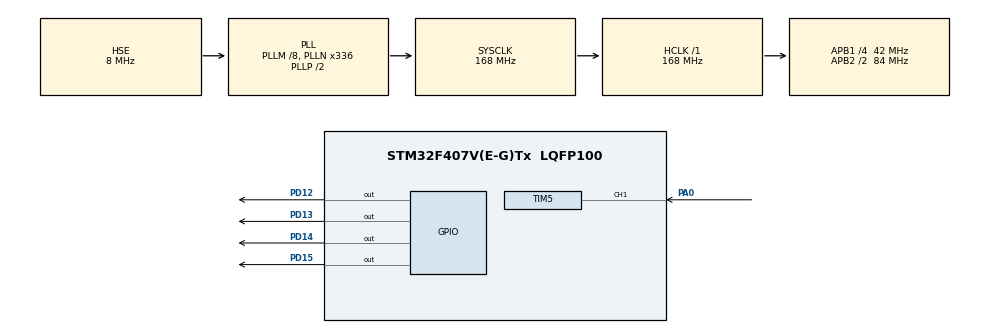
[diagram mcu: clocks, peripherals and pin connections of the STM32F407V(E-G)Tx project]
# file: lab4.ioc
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Mcu.Family=STM32F4
Mcu.Name=STM32F407V(E-G)Tx
Mcu.Package=LQFP100
NVIC.PriorityGroup=NVIC_PRIORITYGROUP_0
NVIC.TIM3_IRQn=true\:0\:0\:false\:true\:true\:1\:true\:true\:true
NVIC.TIM5_IRQn=true\:0\:0\:false\:true\:true\:2\:true\:true\:true
PA0-WKUP.Signal=S_TIM5_CH1
PA13.Mode=Serial_Wire
PA13.Signal=SYS_JTMS-SWDIO
PA14.Mode=Serial_Wire
PA14.Signal=SYS_JTCK-SWCLK
PD12.Signal=GPIO_Output
PD13.Signal=GPIO_Output
PD14.Signal=GPIO_Output
PD15.Signal=GPIO_Output
PH0-OSC_IN.Mode=HSE-External-Oscillator
PH0-OSC_IN.Signal=RCC_OSC_IN
PH1-OSC_OUT.Mode=HSE-External-Oscillator
PH1-OSC_OUT.Signal=RCC_OSC_OUT
ProjectManager.HeapSize=0x200
ProjectManager.StackSize=0x400
ProjectManager.TargetToolchain=STM32CubeIDE
RCC.48MHZClocksFreq_Value=48000000
RCC.AHBFreq_Value=168000000
RCC.APB1CLKDivider=RCC_HCLK_DIV4
RCC.APB1Freq_Value=42000000
RCC.APB1TimFreq_Value=84000000
RCC.APB2CLKDivider=RCC_HCLK_DIV2
RCC.APB2Freq_Value=84000000
RCC.APB2TimFreq_Value=168000000
RCC.CortexFreq_Value=168000000
RCC.HCLKFreq_Value=168000000
RCC.HSE_VALUE=8000000
RCC.HSI_VALUE=16000000
RCC.PLLM=8
RCC.PLLN=336
RCC.PLLQ=7
RCC.PLLSourceVirtual=RCC_PLLSOURCE_HSE
RCC.SYSCLKFreq_VALUE=168000000
RCC.SYSCLKSource=RCC_SYSCLKSOURCE_PLLCLK
RCC.VCOOutputFreq_Value=336000000
SH.S_TIM5_CH1.0=TIM5_CH1,Input_Capture1_from_TI1
TIM3.Period=9999
TIM3.Prescaler=7199
TIM5.Channel-Input_Capture1_from_TI1=TIM_CHANNEL_1
TIM5.ICFilter_CH1=15
TIM5.ICPolarity_CH1=TIM_INPUTCHANNELPOLARITY_FALLING
TIM5.Period=0xFFFFFFFF
TIM5.Prescaler=65535
VP_TIM3_VS_ClockSourceINT.Mode=Internal
VP_TIM5_VS_ClockSourceINT.Mode=Internal
board=STM32F407G-DISC1

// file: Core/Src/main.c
/* USER CODE BEGIN Header */
/**
  ******************************************************************************
  * @file           : main.c
  * @brief          : Main program body
  ******************************************************************************
  * @attention
  *
  * Copyright (c) 2025 STMicroelectronics.
  * All rights reserved.
  *
  * This software is licensed under terms that can be found in the LICENSE file
  * in the root directory of this software component.
  * If no LICENSE file comes with this software, it is provided AS-IS.
  *
  ******************************************************************************
  */
/* USER CODE END Header */
#include "main.h"

TIM_HandleTypeDef htim3;
TIM_HandleTypeDef htim5;

/* USER CODE BEGIN PV */
uint32_t first_capture = 0;
uint32_t second_capture = 0;
uint8_t capture_flag = 0;
uint32_t elapsed_time = 0;
uint32_t time_calc = 0;
/* USER CODE END PV */

void SystemClock_Config(void);
static void MX_GPIO_Init(void);
static void MX_TIM3_Init(void);
static void MX_TIM5_Init(void);
static void MX_NVIC_Init(void);
/* USER CODE BEGIN PFP */
void led_display(uint32_t time_difference);
/* USER CODE END PFP */

int main(void)
{

  /* MCU Configuration--------------------------------------------------------*/

  /* Reset of all peripherals, Initializes the Flash interface and the Systick. */
  HAL_Init();

  /* Configure the system clock */
  SystemClock_Config();

  /* Initialize all configured peripherals */
  MX_GPIO_Init();
  MX_TIM3_Init();
  MX_TIM5_Init();

  /* Initialize interrupts */
  MX_NVIC_Init();
  /* USER CODE BEGIN 2 */
  //HAL_TIM_PWM_Start(&htim4, TIM_CHANNEL_1);   <----- Part 1
    //HAL_TIM_PWM_Start(&htim4, TIM_CHANNEL_4); <----- Part 1
  HAL_TIM_Base_Start_IT(&htim3);
  HAL_TIM_IC_Start_IT(&htim5, TIM_CHANNEL_1);
  /* USER CODE END 2 */

  /* Infinite loop */
  while (1)
  {

  }
}

void SystemClock_Config(void)
{
  RCC_OscInitTypeDef RCC_OscInitStruct = {0};
  RCC_ClkInitTypeDef RCC_ClkInitStruct = {0};

  /** Configure the main internal regulator output voltage
  */
  __HAL_RCC_PWR_CLK_ENABLE();
  __HAL_PWR_VOLTAGESCALING_CONFIG(PWR_REGULATOR_VOLTAGE_SCALE1);

  /** Initializes the RCC Oscillators according to the specified parameters
  * in the RCC_OscInitTypeDef structure.
  */
  RCC_OscInitStruct.OscillatorType = RCC_OSCILLATORTYPE_HSE;
  RCC_OscInitStruct.HSEState = RCC_HSE_ON;
  RCC_OscInitStruct.PLL.PLLState = RCC_PLL_ON;
  RCC_OscInitStruct.PLL.PLLSource = RCC_PLLSOURCE_HSE;
  RCC_OscInitStruct.PLL.PLLM = 8;// ------------------------------------------------Here 4
  RCC_OscInitStruct.PLL.PLLN = 336;// ------------------------------------------------Here 72
  RCC_OscInitStruct.PLL.PLLP = RCC_PLLP_DIV2;
  RCC_OscInitStruct.PLL.PLLQ = 7;
  if (HAL_RCC_OscConfig(&RCC_OscInitStruct) != HAL_OK)
  {
    Error_Handler();
  }

  /** Initializes the CPU, AHB and APB buses clocks
  */
  RCC_ClkInitStruct.ClockType = RCC_CLOCKTYPE_HCLK|RCC_CLOCKTYPE_SYSCLK
                              |RCC_CLOCKTYPE_PCLK1|RCC_CLOCKTYPE_PCLK2;
  RCC_ClkInitStruct.SYSCLKSource = RCC_SYSCLKSOURCE_PLLCLK;
  RCC_ClkInitStruct.AHBCLKDivider = RCC_SYSCLK_DIV1;
  RCC_ClkInitStruct.APB1CLKDivider = RCC_HCLK_DIV4;// ------------------------------------------------Here DIV2
  RCC_ClkInitStruct.APB2CLKDivider = RCC_HCLK_DIV2;

  if (HAL_RCC_ClockConfig(&RCC_ClkInitStruct, FLASH_LATENCY_5) != HAL_OK)
  {
    Error_Handler();
  }
}

/**
  * @brief NVIC Configuration.
  * @retval None
  */
static void MX_NVIC_Init(void)
{
  /* TIM3_IRQn interrupt configuration */
  HAL_NVIC_SetPriority(TIM3_IRQn, 0, 0);
  HAL_NVIC_EnableIRQ(TIM3_IRQn);
  /* TIM5_IRQn interrupt configuration */
  HAL_NVIC_SetPriority(TIM5_IRQn, 0, 0);
  HAL_NVIC_EnableIRQ(TIM5_IRQn);
}

static void MX_TIM3_Init(void)
{

  TIM_ClockConfigTypeDef sClockSourceConfig = {0};
  TIM_MasterConfigTypeDef sMasterConfig = {0};

  htim3.Instance = TIM3;
  htim3.Init.Prescaler = 7199;
  htim3.Init.CounterMode = TIM_COUNTERMODE_UP;
  htim3.Init.Period = 9999;
  htim3.Init.ClockDivision = TIM_CLOCKDIVISION_DIV1;
  htim3.Init.AutoReloadPreload = TIM_AUTORELOAD_PRELOAD_DISABLE;
  if (HAL_TIM_Base_Init(&htim3) != HAL_OK)
  {
    Error_Handler();
  }
  sClockSourceConfig.ClockSource = TIM_CLOCKSOURCE_INTERNAL;
  if (HAL_TIM_ConfigClockSource(&htim3, &sClockSourceConfig) != HAL_OK)
  {
    Error_Handler();
  }
  sMasterConfig.MasterOutputTrigger = TIM_TRGO_RESET;
  sMasterConfig.MasterSlaveMode = TIM_MASTERSLAVEMODE_DISABLE;
  if (HAL_TIMEx_MasterConfigSynchronization(&htim3, &sMasterConfig) != HAL_OK)
  {
    Error_Handler();
  }

}

static void MX_TIM5_Init(void)
{

  TIM_ClockConfigTypeDef sClockSourceConfig = {0};
  TIM_MasterConfigTypeDef sMasterConfig = {0};
  TIM_IC_InitTypeDef sConfigIC = {0};

  htim5.Instance = TIM5;
  htim5.Init.Prescaler = 65535;
  htim5.Init.CounterMode = TIM_COUNTERMODE_UP;
  htim5.Init.Period = 0xFFFFFFFF;
  htim5.Init.ClockDivision = TIM_CLOCKDIVISION_DIV1;
  htim5.Init.AutoReloadPreload = TIM_AUTORELOAD_PRELOAD_DISABLE;
  if (HAL_TIM_Base_Init(&htim5) != HAL_OK)
  {
    Error_Handler();
  }
  sClockSourceConfig.ClockSource = TIM_CLOCKSOURCE_INTERNAL;
  if (HAL_TIM_ConfigClockSource(&htim5, &sClockSourceConfig) != HAL_OK)
  {
    Error_Handler();
  }
  if (HAL_TIM_IC_Init(&htim5) != HAL_OK)
  {
    Error_Handler();
  }
  sMasterConfig.MasterOutputTrigger = TIM_TRGO_RESET;
  sMasterConfig.MasterSlaveMode = TIM_MASTERSLAVEMODE_DISABLE;
  if (HAL_TIMEx_MasterConfigSynchronization(&htim5, &sMasterConfig) != HAL_OK)
  {
    Error_Handler();
  }
  sConfigIC.ICPolarity = TIM_INPUTCHANNELPOLARITY_FALLING;
  sConfigIC.ICSelection = TIM_ICSELECTION_DIRECTTI;
  sConfigIC.ICPrescaler = TIM_ICPSC_DIV1;
  sConfigIC.ICFilter = 15;
  if (HAL_TIM_IC_ConfigChannel(&htim5, &sConfigIC, TIM_CHANNEL_1) != HAL_OK)
  {
    Error_Handler();
  }

}

static void MX_GPIO_Init(void)
{
  GPIO_InitTypeDef GPIO_InitStruct = {0};

  /* GPIO Ports Clock Enable */
  __HAL_RCC_GPIOH_CLK_ENABLE();
  __HAL_RCC_GPIOA_CLK_ENABLE();
  __HAL_RCC_GPIOD_CLK_ENABLE();

  /*Configure GPIO pin Output Level */
  HAL_GPIO_WritePin(GPIOD, GPIO_PIN_12|GPIO_PIN_13|GPIO_PIN_14|GPIO_PIN_15, GPIO_PIN_RESET);

  /*Configure GPIO pins : PD12 PD13 PD14 PD15 */
  GPIO_InitStruct.Pin = GPIO_PIN_12|GPIO_PIN_13|GPIO_PIN_14|GPIO_PIN_15;
  GPIO_InitStruct.Mode = GPIO_MODE_OUTPUT_PP;
  GPIO_InitStruct.Pull = GPIO_NOPULL;
  GPIO_InitStruct.Speed = GPIO_SPEED_FREQ_LOW;
  HAL_GPIO_Init(GPIOD, &GPIO_InitStruct);

}

/* USER CODE BEGIN 4 */
void HAL_TIM_PeriodElapsedCallback(TIM_HandleTypeDef *htim) {
        HAL_GPIO_TogglePin(GPIOD, GPIO_PIN_12);  // PD15 LED Toggle

}

void HAL_TIM_IC_CaptureCallback(TIM_HandleTypeDef *htim){

		if(htim->Channel == HAL_TIM_ACTIVE_CHANNEL_1){ //control if there is interrupt in TIM5

			if(capture_flag == 0){ // if its first touch
				first_capture =  __HAL_TIM_GET_COUNTER(&htim5);
				capture_flag = 1;

			}
			else{

				second_capture = __HAL_TIM_GET_COUNTER(&htim5);

				if (second_capture >= first_capture) {
				    time_calc = second_capture - first_capture;
				} else {
				    time_calc = (0xFFFFFFFF - first_capture) + second_capture;
				}

				capture_flag = 0;
				led_display(time_calc);

			}

		}

}

void led_display(uint32_t time_difference){

	if(time_difference > 0000 && time_difference <= 2000){
		HAL_GPIO_WritePin(GPIOD, GPIO_PIN_12, GPIO_PIN_RESET);//Green
		HAL_GPIO_WritePin(GPIOD, GPIO_PIN_15, GPIO_PIN_SET);//Blue
		HAL_Delay(500);
	}
	else if(time_difference > 2000 && time_difference <= 4000){
		HAL_GPIO_WritePin(GPIOD, GPIO_PIN_12, GPIO_PIN_RESET);
		HAL_GPIO_WritePin(GPIOD, GPIO_PIN_15, GPIO_PIN_SET);
		HAL_GPIO_WritePin(GPIOD, GPIO_PIN_14, GPIO_PIN_SET);//Red
		HAL_Delay(500);
	}
	else if(time_difference > 4000 && time_difference <= 6000){
		HAL_GPIO_WritePin(GPIOD, GPIO_PIN_12, GPIO_PIN_RESET);
		HAL_GPIO_WritePin(GPIOD, GPIO_PIN_15, GPIO_PIN_SET);
		HAL_GPIO_WritePin(GPIOD, GPIO_PIN_14, GPIO_PIN_SET);
		HAL_GPIO_WritePin(GPIOD, GPIO_PIN_13, GPIO_PIN_SET);//Yellow
		HAL_Delay(500);
	}

}

/* USER CODE END 4 */

void Error_Handler(void)
{
  __disable_irq();
  while (1)
  {
  }
}
